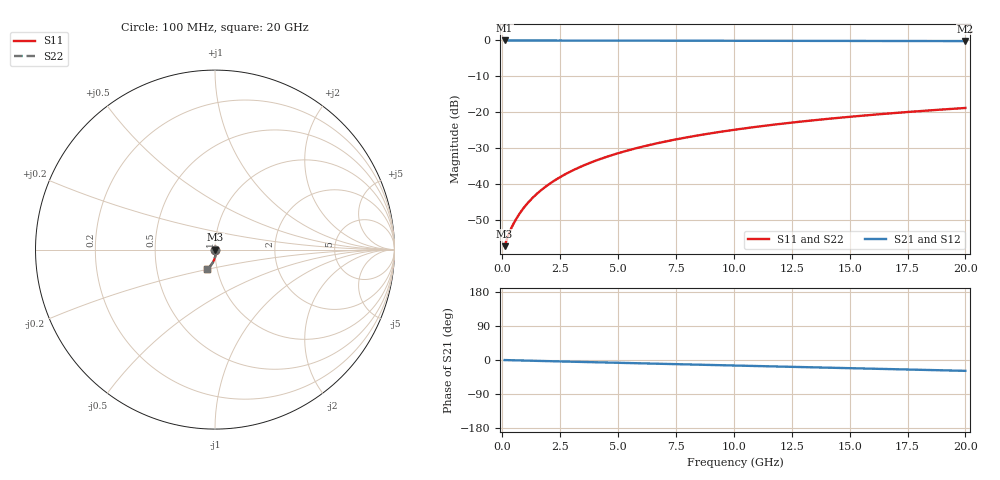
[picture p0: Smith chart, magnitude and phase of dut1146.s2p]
! Touchstone file exported from HFSS 2026.1.0
!  File:  C:/ffzhzh/LocalFiles/Ansys_Project_Files/temp_train_TMRDL_1146_1783162027_55132.aedt
!  Generated:  06:48:12 PM Jul  4, 2026
!  Design:  TMRDL
!  Project:  temp_train_TMRDL_1146_1783162027_55132
! Variables:
!  h_bsmrdl = 2um
!  h_ox = 20um
!  h_rdl = 5um
!  h_sub = 80um
!  h_tmrdl = 5.99um
!  h_tsv = 80um
!  h_via = 3um
!  l_bsmrdl = 300um
!  l_sub = 898.23um
!  l_tmrdl = 498.23um
!  m_sub = 200um
!  pitch = 32.1um
!  r_tsv = 6um
!  s_tmrdl = 10um
!  w_bsmrdl = 18um
!  w_sub = 500um
!  w_tmrdl = 28.59um
!  x_tsv_center1 = 512.525um
!  x_tsv_center2 = 830.525um
!  x_tsv_center3 = 1357.345um
!  x_tsv_center4 = 1675.345um
!  x_tsv_center5 = 2202.165um
!  x_tsv_center6 = 2520.165um
# GHz S MA R 50.000000
! Terminal data exported
! Port[1] = TM_RDL1_1_T1
! Port[2] = TM_RDL1_1_T2
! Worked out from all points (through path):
!   200 points, 100 MHz to 20 GHz, reference 50 ohm
!   highest |S21| = -0.01 dB at 100 MHz (marker M1); lowest = -0.2 dB at 20 GHz (marker M2)
!   group delay of S21, straight-line fit = 3.95 ps
!   lowest |S11| = -57.3 dB at 100 MHz (marker M3), VSWR 1.00, Z = 50.1 - j7.25e-05 ohm
!   |S11| at or under -10 dB: start of sweep to end of sweep
!   |S22| runs from -57.3 to -18.8 dB; largest |S21 - S12| = 8.2e-15
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0.1  0.001364 -0.0  0.9986 -0.2  0.9986 -0.2  0.001364 -0.0
! Gamma 0 0 0 0
! Port Impedance 50 0 50 0
0.2  0.001726 -9.5  0.9983 -0.3  0.9983 -0.3  0.001726 -9.5
0.3  0.002098 -20.8  0.998 -0.5  0.998 -0.5  0.002098 -20.8
0.4  0.002473 -30.6  0.9978 -0.6  0.9978 -0.6  0.002473 -30.6
0.6  0.003262 -44.5  0.9976 -0.9  0.9976 -0.9  0.003262 -44.5
0.9  0.004543 -56.5  0.9973 -1.4  0.9973 -1.4  0.004544 -56.5
1.1  0.005447 -61.3  0.9972 -1.7  0.9972 -1.7  0.005448 -61.3
1.3  0.006382 -64.8  0.997 -2.0  0.997 -2.0  0.006383 -64.8
1.8  0.008836 -70.3  0.9966 -2.7  0.9966 -2.7  0.008837 -70.2
2.3  0.01143 -73.6  0.996 -3.5  0.996 -3.5  0.01143 -73.6
2.9  0.01469 -76.4  0.9954 -4.4  0.9954 -4.4  0.01469 -76.4
3.5  0.01808 -78.7  0.9947 -5.2  0.9947 -5.2  0.01808 -78.7
4.2  0.02214 -81.0  0.9939 -6.2  0.9939 -6.2  0.02214 -81.0
5  0.02686 -83.3  0.9931 -7.4  0.9931 -7.4  0.02686 -83.3
5.9  0.03224 -85.7  0.9922 -8.7  0.9922 -8.7  0.03224 -85.7
6.8  0.03764 -87.9  0.9914 -10.0  0.9914 -10.0  0.03764 -87.9
8.3  0.04666 -91.3  0.99 -12.1  0.99 -12.1  0.04666 -91.2
10.1  0.05744 -94.9  0.9884 -14.7  0.9884 -14.7  0.05745 -94.8
11.7  0.06697 -97.9  0.987 -16.9  0.987 -16.9  0.06698 -97.8
13.4  0.07701 -100.9  0.9854 -19.3  0.9854 -19.3  0.07702 -100.8
16.7  0.09614 -106.4  0.982 -24.0  0.982 -24.0  0.09616 -106.3
20  0.1146 -111.6  0.9785 -28.6  0.9785 -28.6  0.1147 -111.5
